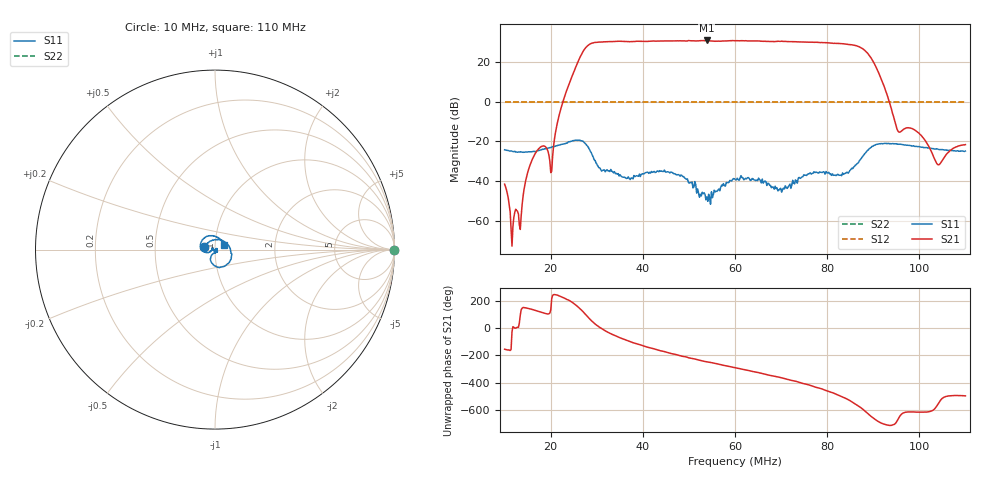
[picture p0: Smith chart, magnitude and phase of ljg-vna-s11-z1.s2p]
! Anritsu VNA Master:  Model: MS2034B/10/19/501
! SN:  1337062
! /bd0/ovro-jan-2016/ljg-vna-s11-z1.s2p
! Existing Calibration Information:
! TYPE:  Current Settings,  Active Cal Settings
! TIME:  01/08/2016 05:59:00 PM,  01/08/2016 05:30:02 PM
! INTERNAL TEMP:  45.0 C,  46.5 C
! # POINTS:  500,  500
! START FREQ:  10.000 MHz,  10.000 MHz
! STOP FREQ:  110.000 MHz,  110.000 MHz
! SOURCE POWER:  Low,  Low
! IFBW:  100 Hz,  100 Hz
! AVG FACTOR:  3 ,  3
! REF PLANE 1:  1.2232 m,  1.2232 m
! REF PLANE 2:  0 mm,  0 mm
! CAL TYPE:  1P2P S11,S21,  1P2P S11,S21
! CAL METHOD:  SOLT,  SOLT
! CAL LINE TYPE:  Coax,  Coax
! DUT PORT 1:  K-Conn(M),  K-Conn(M)
! DUT PORT 2:  N-Conn(M),  N-Conn(M)
! CAL STATUS:  OK: Accuracy High,  --
# GHZ S DB R 50.0
! FREQ.GHZ  S11DB  S11A  S21DB  S21A  S12DB  S12A  S22DB  S22A
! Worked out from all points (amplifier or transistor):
!   500 points, 10 MHz to 110 MHz, reference 50 ohm
!   highest |S21| = 30.7 dB at 53.89 MHz (marker M1)
!   |S21| within 3 dB of that: 27.85 MHz to 86.77 MHz (58.92 MHz wide, 103 % of centre)
!   unconditionally stable (mu >= 1): nowhere
!   at 26.63 MHz: K = 7.54, MSG = 11.7 dB, |S12| = 0.0 dB
!   at 60.1 MHz: K = 16.89, MSG = 15.3 dB, |S12| = 0.0 dB
!   at 110 MHz: K = 0.10, MSG = -10.8 dB, |S12| = 0.0 dB
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0.01  -24.23 166.3  -41.50 -155.4  0.00 0.0  0.00 0.0
0.02442886  -19.95 -24.4  11.47 -166.2  0.00 0.0  0.00 0.0
0.02683367  -19.73 -75.9  24.39 126.3  0.00 0.0  0.00 0.0
0.02863728  -25.10 -117.0  29.03 60.4  0.00 0.0  0.00 0.0
0.02983968  -30.79 -117.3  29.78 23.9  0.00 0.0  0.00 0.0
0.03124249  -34.61 -95.5  29.90 -8.1  0.00 0.0  0.00 0.0
0.03344689  -35.20 -83.7  30.13 -47.8  0.00 0.0  0.00 0.0
0.0360521  -38.03 -73.3  30.16 -84.5  0.00 0.0  0.00 0.0
0.03905812  -37.51 -45.0  30.30 -119.1  0.00 0.0  0.00 0.0
0.04346693  -35.25 -45.3  30.37 -163.7  0.00 0.0  0.00 0.0
0.04787575  -36.95 -58.5  30.51 159.1  0.00 0.0  0.00 0.0
0.05388778  -47.93 -6.1  30.69 111.9  0.00 0.0  0.00 0.0
0.0601002  -39.30 29.0  30.58 68.3  0.00 0.0  0.00 0.0
0.06450902  -39.74 5.2  30.45 36.9  0.00 0.0  0.00 0.0
0.06971944  -43.94 -75.4  30.20 -1.6  0.00 0.0  0.00 0.0
0.07673347  -36.06 166.6  29.81 -65.2  0.00 0.0  0.00 0.0
0.08114228  -36.29 154.3  29.34 -113.7  0.00 0.0  0.00 0.0
0.0849499  -34.64 -168.3  28.60 -172.2  0.00 0.0  0.00 0.0
0.08815631  -26.22 -160.7  25.71 113.2  0.00 0.0  0.00 0.0
0.08995992  -22.38 177.5  20.24 61.5  0.00 0.0  0.00 0.0
0.09336673  -21.06 136.0  0.64 7.8  0.00 0.0  0.00 0.0
0.11  -24.89 24.3  -21.65 -137.2  0.00 0.0  0.00 0.0
